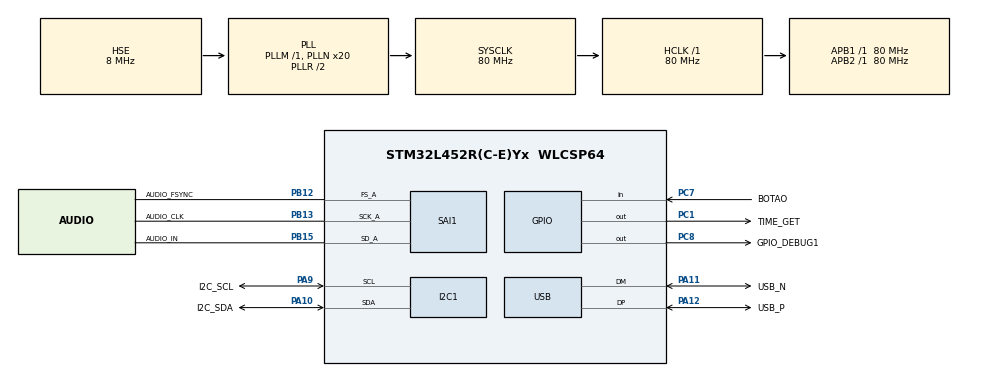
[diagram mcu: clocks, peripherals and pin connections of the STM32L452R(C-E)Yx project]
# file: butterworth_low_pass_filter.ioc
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Dma.Request0=SAI1_A
Dma.SAI1_A.0.Direction=DMA_PERIPH_TO_MEMORY
Dma.SAI1_A.0.Instance=DMA2_Channel1
Dma.SAI1_A.0.MemDataAlignment=DMA_MDATAALIGN_WORD
Dma.SAI1_A.0.MemInc=DMA_MINC_ENABLE
Dma.SAI1_A.0.Mode=DMA_NORMAL
Dma.SAI1_A.0.PeriphDataAlignment=DMA_PDATAALIGN_WORD
Dma.SAI1_A.0.PeriphInc=DMA_PINC_DISABLE
Dma.SAI1_A.0.Priority=DMA_PRIORITY_VERY_HIGH
I2C1.Timing=0x10909CEC
Mcu.Family=STM32L4
Mcu.Name=STM32L452R(C-E)Yx
Mcu.Package=WLCSP64
NVIC.DMA2_Channel1_IRQn=true\:0\:0\:false\:false\:true\:false\:true\:true
NVIC.PriorityGroup=NVIC_PRIORITYGROUP_4
NVIC.SAI1_IRQn=true\:0\:0\:false\:false\:true\:true\:true\:true
NVIC.TIM1_UP_TIM16_IRQn=true\:15\:0\:false\:false\:true\:false\:true\:true
NVIC.TimeBase=TIM1_UP_TIM16_IRQn
NVIC.TimeBaseIP=TIM1
NVIC.USB_IRQn=true\:0\:0\:false\:false\:true\:true\:true\:true
PA10.GPIO_Label=I2C_SDA
PA10.Mode=I2C
PA10.Signal=I2C1_SDA
PA11.GPIO_Label=USB_N
PA11.Mode=Device
PA11.Signal=USB_DM
PA12.GPIO_Label=USB_P
PA12.Mode=Device
PA12.Signal=USB_DP
PA13\ (JTMS/SWDIO).Mode=Serial_Wire
PA13\ (JTMS/SWDIO).Signal=SYS_JTMS-SWDIO
PA14\ (JTCK/SWCLK).Mode=Serial_Wire
PA14\ (JTCK/SWCLK).Signal=SYS_JTCK-SWCLK
PA9.GPIO_Label=I2C_SCL
PA9.Mode=I2C
PA9.Signal=I2C1_SCL
PB12.GPIO_Label=AUDIO_FSYNC
PB12.GPIO_Speed=GPIO_SPEED_FREQ_VERY_HIGH
PB12.Mode=SAI_A_Master
PB12.Signal=SAI1_FS_A
PB13.GPIO_Label=AUDIO_CLK
PB13.GPIO_Speed=GPIO_SPEED_FREQ_VERY_HIGH
PB13.Mode=SAI_A_Master
PB13.Signal=SAI1_SCK_A
PB15.GPIO_Label=AUDIO_IN
PB15.GPIO_Speed=GPIO_SPEED_FREQ_VERY_HIGH
PB15.Mode=SAI_A_Master
PB15.Signal=SAI1_SD_A
PC1.GPIO_Label=TIME_GET
PC1.Signal=GPIO_Output
PC14-OSC32_IN\ (PC14).Mode=LSE-External-Oscillator
PC14-OSC32_IN\ (PC14).Signal=RCC_OSC32_IN
PC15-OSC32_OUT\ (PC15).Mode=LSE-External-Oscillator
PC15-OSC32_OUT\ (PC15).Signal=RCC_OSC32_OUT
PC7.GPIO_Label=BOTAO
PC7.Signal=GPIO_Input
PC8.GPIO_Label=GPIO_DEBUG1
PC8.GPIO_ModeDefaultOutputPP=GPIO_MODE_OUTPUT_PP
PC8.GPIO_PuPd=GPIO_NOPULL
PC8.GPIO_Speed=GPIO_SPEED_FREQ_VERY_HIGH
PC8.Signal=GPIO_Output
PH0-OSC_IN\ (PH0).Mode=HSE-External-Oscillator
PH0-OSC_IN\ (PH0).Signal=RCC_OSC_IN
PH1-OSC_OUT\ (PH1).Mode=HSE-External-Oscillator
PH1-OSC_OUT\ (PH1).Signal=RCC_OSC_OUT
ProjectManager.HeapSize=0x200
ProjectManager.StackSize=0x400
ProjectManager.TargetToolchain=STM32CubeIDE
RCC.ADCFreq_Value=48000000
RCC.AHBFreq_Value=80000000
RCC.APB1Freq_Value=80000000
RCC.APB1TimFreq_Value=80000000
RCC.APB2Freq_Value=80000000
RCC.APB2TimFreq_Value=80000000
RCC.CortexFreq_Value=80000000
RCC.HCLKFreq_Value=80000000
RCC.HSE_VALUE=8000000
RCC.HSI48_VALUE=48000000
RCC.HSI_VALUE=16000000
RCC.MSI_VALUE=4000000
RCC.PLLN=20
RCC.PLLSAI1N=12
RCC.PLLSAI1P=RCC_PLLP_DIV2
RCC.PLLSourceVirtual=RCC_PLLSOURCE_HSE
RCC.SYSCLKFreq_VALUE=80000000
RCC.SYSCLKSource=RCC_SYSCLKSOURCE_PLLCLK
RCC.USBFreq_Value=48000000
RCC.VCOOutputFreq_Value=160000000
SAI1.AudioFrequency-SAI_A_Master=SAI_AUDIO_FREQUENCY_48K
SAI1.AudioMode-SAI_A_Master=SAI_MODEMASTER_RX
SAI1.BasicDataSize-SAI_A_Master=SAI_PROTOCOL_DATASIZE_32BIT
SAI1.ErrorAudioFreq-SAI_A_Master=-2.34 %
SAI1.InitProtocol-SAI_A_Master=Enable
SAI1.Instance-SAI_A_Master=SAI$Index_Block_A
SAI1.MClockEnable-SAI_A_Master=SAI_MASTERCLOCK_DISABLE
SAI1.MonoStereoMode-SAI_A_Master=SAI_MONOMODE
SAI1.NoDivider-SAI_A_Master=SAI_MASTERDIVIDER_ENABLE
SAI1.RealAudioFreq-SAI_A_Master=46.875 KHz
SAI1.VirtualMode-SAI_A_Master=VM_MASTER
SAI1.VirtualProtocol-SAI_A_BASIC=VM_BASIC_PROTOCOL
USB_DEVICE.APP_RX_DATA_SIZE=2048
USB_DEVICE.APP_TX_DATA_SIZE=2048
USB_DEVICE.CLASS_NAME_FS=CDC
USB_DEVICE.VirtualMode=Cdc
USB_DEVICE.VirtualModeFS=Cdc_FS
VP_CRC_VS_CRC.Mode=CRC_Activate
VP_SAI1_VP_$IpInstance_SAIA_SAI_BASIC.Mode=SAI_A_BASIC
VP_SYS_VS_tim1.Mode=TIM1
VP_USB_DEVICE_VS_USB_DEVICE_CDC_FS.Mode=CDC_FS
board=custom

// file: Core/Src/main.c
/* USER CODE BEGIN Header */

/*
 * VERSÃO DE FIRMWARE v0.2
 */

/**
  ******************************************************************************
  * @file           : main.c
  * @brief          : Main program body
  ******************************************************************************
  * @attention
  *
  * Copyright (c) 2023 STMicroelectronics.
  * All rights reserved.
  *
  * This software is licensed under terms that can be found in the LICENSE file
  * in the root directory of this software component.
  * If no LICENSE file comes with this software, it is provided AS-IS.
  *
  ******************************************************************************
  */
/* USER CODE END Header */
#include "main.h"
#include "crc.h"
#include "dma.h"
#include "i2c.h"
#include "sai.h"
#include "usb_device.h"
#include "gpio.h"

/* USER CODE BEGIN Includes */
#define ARM_MATH_CM4  // Use ARM Cortex M4
#define __FPU_PRESENT 1
#define ARM_MATH_NEON
#include "adc.h"
#include "stdio.h"
#include "string.h"
#include "usbd_cdc_if.h"
#include <stdlib.h>
#include <stdbool.h>
#include"low_pass_filter.h"
#include"low_pass_filter2.h"

#include <arm_math.h>
/* USER CODE END Includes */

/* USER CODE BEGIN PV */

#define NumAmostras 512
/*
 * Uma linha contem NumAmostras amostras
 * Cada amostra é um inteiro de 16 bits (2 bytes)
 * Para representar cada amostra com chars usa-se 12 caracteres (1 sinal, 10 digitos e o espaço ' ')
 * no começo de cada linha há o "\r\n" (2 caracteres)
 * há um "\0" para marcar o fim da string (1 caracter)
 */
#define N 15*NumAmostras
int32_t sai_data[NumAmostras];
float int_sai_data_filter[NumAmostras];
float sai_data_filter[NumAmostras];

uint32_t start_get_time = 0;
uint32_t stop_get_time = 0;

// filtro de ordem 6
//#define N_filter 6
//float a[]= {1,-5.514635515723137,12.689567164247162,-15.594458394508003,10.794044128201001,-3.989699331813231,0.615185058832997};
//float b[]={4.858182486754450e-08,2.914909492052670e-07,7.287273730131675e-07,9.716364973508900e-07,7.287273730131675e-07,2.914909492052670e-07,4.858182486754450e-08};

// filtro de ordem 4
#define N_filter 4
// coeficientes do filtro iir
float a[]=	{1, -3.77704525591331, 5.35565449342871, -3.37862309614059, 0.800061402744814};
float b[]=	{2.97150747683261e-06, 1.18860299073305e-05, 1.78290448609957e-05, 1.18860299073305e-05, 2.97150747683261e-06};

//float  sai_data_f[NumAmostras];
bool cdcTransmitionCplt = 1;

/* USER CODE END PV */

void SystemClock_Config(void);
void PeriphCommonClock_Config(void);

/* USER CODE BEGIN 0 */

// função para usar filtro na forma direta
void filterDirectSignal(float *input, float *output, int signalLength) {
    for (int i = N_filter; i < signalLength; i++) {
        output[i] = 0;
		  HAL_GPIO_WritePin(GPIOC, TIME_GET_Pin, GPIO_PIN_SET);

        for (int j = 0; j <= N_filter; j++) {
            output[i] += b[j] * input[i - j];
            if (j > 0) {
                output[i] -= a[j] * output[i - j];
            }
        }
		  HAL_GPIO_WritePin(GPIOC, TIME_GET_Pin, GPIO_PIN_RESET);

    }
}
/*
const int8_t LP_a_bytes[24]={
	0x55,0xd2,0xc5,0xbf,
	0x9a,0x99,0x19,0x3f,
	0xec,0x5,0xd1,0xbf,
	0x17,0xcb,0x30,0x3f,
	0xa6,0xc0,0xe7,0xbf,
	0x13,0xdb,0x5f,0x3f};
const float* LP_a = (float*) LP_a_bytes;

const int8_t LP_b_bytes[36]={0x3a,0x55,0x52,0x36,
	0x5e,0xf4,0xd2,0x36,
	0x24,0x94,0x53,0x36,
	0x0,0x0,0x80,0x3f,
	0xfe,0xfe,0xff,0x3f,
	0xbf,0xfe,0x7f,0x3f,
	0x0,0x0,0x80,0x3f,
	0x4f,0x3f,0xff,0x3f,
	0x5f,0x7f,0x7e,0x3f};
const float* LP_b = (float*) LP_b_bytes;

//Delay Variables
float LP_w[6]={0,0,0,0,0,0};

float LP_Update6(float x)
{
	float y;
	float w;
	//Section 0
	w = x-LP_w[0]*LP_a[0]-LP_w[1]*LP_a[1];
	y = w*LP_b[0]+LP_w[0]*LP_b[1]+LP_w[1]*LP_b[2];
	LP_w[1]=LP_w[0];
	LP_w[0]=w;
	//Section 1
	w = y-LP_w[2]*LP_a[2]-LP_w[3]*LP_a[3];
	y = w*LP_b[3]+LP_w[2]*LP_b[4]+LP_w[3]*LP_b[5];
	LP_w[3]=LP_w[2];
	LP_w[2]=w;
	//Section 2
	w = y-LP_w[4]*LP_a[4]-LP_w[5]*LP_a[5];
	y = w*LP_b[6]+LP_w[4]*LP_b[7]+LP_w[5]*LP_b[8];
	LP_w[5]=LP_w[4];
	LP_w[4]=w;
	return y;
}*/

// função para usar filtro na forma cascata (transfomrmada z dividia em sessões de ordem 2)
//Filter Coefficients
const int8_t LP_a_bytes[16]={
	0xc0,0x38,0x2c,0xbf,
	0x9,0x1,0x14,0x3e,
	0xe9,0xcc,0x65,0xbf,
	0xb9,0xf5,0x6,0x3f};
const float* LP_a = (float*) LP_a_bytes;

const int8_t LP_b_bytes[24]={0x74,0x11,0x98,0x3c,
	0x74,0x11,0x18,0x3d,
	0x75,0x11,0x98,0x3c,
	0x0,0x0,0x80,0x3f,
	0x0,0x0,0x0,0x40,
	0x0,0x0,0x80,0x3f};
const float* LP_b = (float*) LP_b_bytes;

//Delay Variables
float LP_w[4]={0,0,0,0};

float filterCascatetSignal(float x)
{
	float y;
	float w;
	//Section 0
	w = x-LP_w[0]*LP_a[0]-LP_w[1]*LP_a[1];
	y = w*LP_b[0]+LP_w[0]*LP_b[1]+LP_w[1]*LP_b[2];
	LP_w[1]=LP_w[0];
	LP_w[0]=w;
	//Section 1
	w = y-LP_w[2]*LP_a[2]-LP_w[3]*LP_a[3];
	y = w*LP_b[3]+LP_w[2]*LP_b[4]+LP_w[3]*LP_b[5];
	LP_w[3]=LP_w[2];
	LP_w[2]=w;
	return y;
}

/* USER CODE END 0 */

int main(void)
{

  /* MCU Configuration--------------------------------------------------------*/

  /* Reset of all peripherals, Initializes the Flash interface and the Systick. */
  HAL_Init();

  /* Configure the system clock */
  SystemClock_Config();

/* Configure the peripherals common clocks */
  PeriphCommonClock_Config();

  /* Initialize all configured peripherals */
  MX_GPIO_Init();
  MX_DMA_Init();
  MX_CRC_Init();
  MX_SAI1_Init();
  MX_I2C1_Init();
  MX_USB_DEVICE_Init();
  /* USER CODE BEGIN 2 */

  adc_mic_config3();

  HAL_SAI_Receive_DMA(&hsai_BlockA1, (uint8_t *)sai_data, NumAmostras);
  /* USER CODE END 2 */

  /* Infinite loop */
  /* USER CODE BEGIN WHILE */

  int contadorDeAmostras = 1;
  uint8_t last_CDC_return = USBD_OK;

  filter1Type *filtro_low_pass;
  filtro_low_pass = filter1_create();
  filter1_init(filtro_low_pass);//filter1Type_M

  filter2Type *filtro_low_pass2;
  filtro_low_pass2 = filter2_create();
  filter2_init(filtro_low_pass2);

  //DEBUG
//  int contadorDeLinhas = 1;
  while (1)
  {

	  if ( (!HAL_GPIO_ReadPin(BOTAO_GPIO_Port, BOTAO_Pin)) && cdcTransmitionCplt ){

		  char msg[N*10] = {0};
		  char dado_formatado[100] = {0};

		  //DEBUG
//		  sprintf(msg, "\r\n%d %ld ", contadorDeLinhas, sai_data[0]);

		  sprintf(msg, "\r\n%f ", 0.0f);

		  while (contadorDeAmostras < NumAmostras){

			 int_sai_data_filter[contadorDeAmostras]= (float) sai_data[contadorDeAmostras];
			 start_get_time = HAL_GetTick();

// filtro com biblioteca CMSIS
			 filterCMSIS_filterBlock(filtro_low_pass, int_sai_data_filter, sai_data_filter, contadorDeAmostras);
//// filtro com implementação C com ponteiro
//			 filterC_filterBlock(filtro_low_pass2, int_sai_data_filter, sai_data_filter, contadorDeAmostras);
//  filtro com implementação C vetores
//			 sai_data_filter[contadorDeAmostras]= filterCascatetSignal(int_sai_data_filter[contadorDeAmostras]);

			  stop_get_time = start_get_time - HAL_GetTick();
			 //stop_get_time = start_get_time - stop_get_time;

			  sprintf(dado_formatado, "%f ", sai_data_filter[contadorDeAmostras]);
			  strcat(msg, dado_formatado);

			  contadorDeAmostras++;
		  }

		  if (contadorDeAmostras >= NumAmostras){

//// filtro com vetores forma direta
//			  filterDirectSignal(int_sai_data_filter, sai_data_filter, contadorDeAmostras);
//
//			  for(int x = 0 ; x<contadorDeAmostras;x++){
//				  sprintf(dado_formatado, "%f ", sai_data_filter[x]);
//				  strcat(msg, dado_formatado);
//			  }

			  last_CDC_return = CDC_Transmit_FS((uint8_t*)msg, strlen(msg)); // essa funcao nao pode ser chamada muitas vezes seguidas mto rapido
			  // Isso causa falhas e quebras nas linhas e estruturas da mensagem enviada pela USB

			  if(last_CDC_return == USBD_OK){

				  HAL_SAI_Receive_DMA(&hsai_BlockA1, (uint8_t *)sai_data, NumAmostras);

				  contadorDeAmostras = 1;

				  //DEBUG
//				  contadorDeLinhas++;

			  }

		  }

	  }

    /* USER CODE END WHILE */

  }
}

void SystemClock_Config(void)
{
  RCC_OscInitTypeDef RCC_OscInitStruct = {0};
  RCC_ClkInitTypeDef RCC_ClkInitStruct = {0};

  /** Configure the main internal regulator output voltage
  */
  if (HAL_PWREx_ControlVoltageScaling(PWR_REGULATOR_VOLTAGE_SCALE1) != HAL_OK)
  {
    Error_Handler();
  }

  /** Initializes the RCC Oscillators according to the specified parameters
  * in the RCC_OscInitTypeDef structure.
  */
  RCC_OscInitStruct.OscillatorType = RCC_OSCILLATORTYPE_HSE;
  RCC_OscInitStruct.HSEState = RCC_HSE_ON;
  RCC_OscInitStruct.PLL.PLLState = RCC_PLL_ON;
  RCC_OscInitStruct.PLL.PLLSource = RCC_PLLSOURCE_HSE;
  RCC_OscInitStruct.PLL.PLLM = 1;
  RCC_OscInitStruct.PLL.PLLN = 20;
  RCC_OscInitStruct.PLL.PLLP = RCC_PLLP_DIV7;
  RCC_OscInitStruct.PLL.PLLQ = RCC_PLLQ_DIV2;
  RCC_OscInitStruct.PLL.PLLR = RCC_PLLR_DIV2;
  if (HAL_RCC_OscConfig(&RCC_OscInitStruct) != HAL_OK)
  {
    Error_Handler();
  }

  /** Initializes the CPU, AHB and APB buses clocks
  */
  RCC_ClkInitStruct.ClockType = RCC_CLOCKTYPE_HCLK|RCC_CLOCKTYPE_SYSCLK
                              |RCC_CLOCKTYPE_PCLK1|RCC_CLOCKTYPE_PCLK2;
  RCC_ClkInitStruct.SYSCLKSource = RCC_SYSCLKSOURCE_PLLCLK;
  RCC_ClkInitStruct.AHBCLKDivider = RCC_SYSCLK_DIV1;
  RCC_ClkInitStruct.APB1CLKDivider = RCC_HCLK_DIV1;
  RCC_ClkInitStruct.APB2CLKDivider = RCC_HCLK_DIV1;

  if (HAL_RCC_ClockConfig(&RCC_ClkInitStruct, FLASH_LATENCY_4) != HAL_OK)
  {
    Error_Handler();
  }
}

void PeriphCommonClock_Config(void)
{
  RCC_PeriphCLKInitTypeDef PeriphClkInit = {0};

  /** Initializes the peripherals clock
  */
  PeriphClkInit.PeriphClockSelection = RCC_PERIPHCLK_SAI1|RCC_PERIPHCLK_USB;
  PeriphClkInit.Sai1ClockSelection = RCC_SAI1CLKSOURCE_PLLSAI1;
  PeriphClkInit.UsbClockSelection = RCC_USBCLKSOURCE_PLLSAI1;
  PeriphClkInit.PLLSAI1.PLLSAI1Source = RCC_PLLSOURCE_HSE;
  PeriphClkInit.PLLSAI1.PLLSAI1M = 1;
  PeriphClkInit.PLLSAI1.PLLSAI1N = 12;
  PeriphClkInit.PLLSAI1.PLLSAI1P = RCC_PLLP_DIV2;
  PeriphClkInit.PLLSAI1.PLLSAI1Q = RCC_PLLQ_DIV2;
  PeriphClkInit.PLLSAI1.PLLSAI1R = RCC_PLLR_DIV2;
  PeriphClkInit.PLLSAI1.PLLSAI1ClockOut = RCC_PLLSAI1_SAI1CLK|RCC_PLLSAI1_48M2CLK;
  if (HAL_RCCEx_PeriphCLKConfig(&PeriphClkInit) != HAL_OK)
  {
    Error_Handler();
  }
}

/* USER CODE BEGIN 4 */

void HAL_SAI_RxCpltCallback(SAI_HandleTypeDef *hsai) {
//
//	HAL_SAI_Receive_DMA(&hsai_BlockA1, (uint8_t *)sai_data, NumAmostras);

}

/* USER CODE END 4 */

void HAL_TIM_PeriodElapsedCallback(TIM_HandleTypeDef *htim)
{
  if (htim->Instance == TIM1) {
    HAL_IncTick();
  }
}

void Error_Handler(void)
{
  __disable_irq();
  while (1)
  {
  }
}
